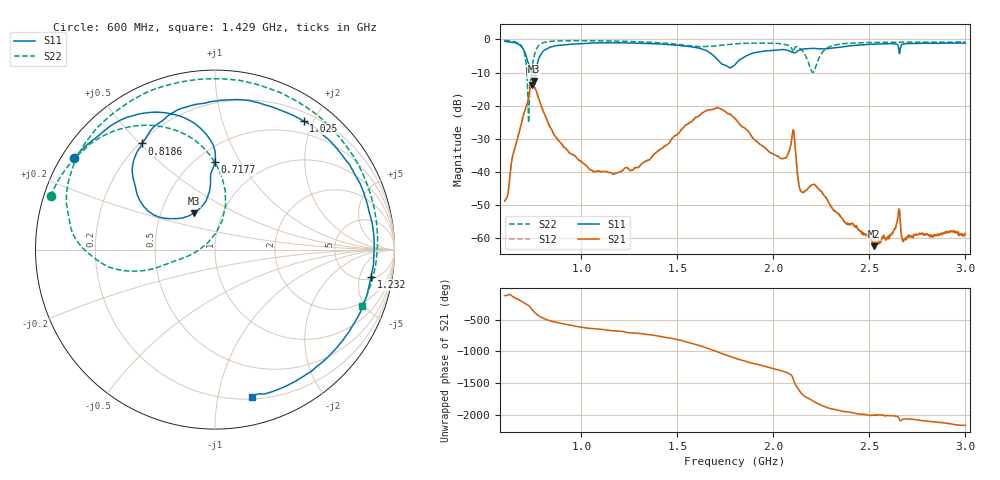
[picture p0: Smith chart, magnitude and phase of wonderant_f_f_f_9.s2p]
#  HZ  S  RI  R  50.00
! Rohde & Schwarz ZVB8 2Ports - Version 2.81 - 1145.1010k08 SN: 100113
! Date: 2016-05-17 22:38:16
! Measurements: S11 S21 S12 S22
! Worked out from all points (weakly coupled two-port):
!   1000 points, 600 MHz to 3 GHz, reference 50 ohm
!   highest |S21| = -13.63 dB at 744.1 MHz (marker M1); lowest = -62.4 dB at 2.524 GHz (marker M2)
!   lowest |S11| = -12.6 dB at 751.4 MHz (marker M3), VSWR 1.61, Z = 36.6 + j15.7 ohm
!   |S11| at or under -10 dB: 740 MHz to 762.3 MHz (22.33 MHz wide, 2.97 % of centre)
!   |S22| runs from -25.2 to -0.3 dB; largest |S21 - S12| = 0.0022
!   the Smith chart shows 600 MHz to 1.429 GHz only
!   S11 on the Smith chart (normalised r, x): 600 MHz: 0.04, +0.30; 717.7 MHz: 0.62, +0.79; 818.6 MHz: 0.21, +0.51; 1.025 GHz: 0.32, +1.86; 1.232 GHz: 5.48, -7.57; 1.429 GHz: 0.22, -1.26
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6e8  -0.784 0.5083  -0.00199 -0.00302  -0.00208 -0.00306  -0.9159 0.2966
6.864865e8  -0.222 0.7516  -0.0461 0.0241  -0.0462 0.0239  -0.4142 0.6918
7.177177e8  -0.000659 0.4876  -0.00261 0.1065  -0.00374 0.1064  0.0589 0.2456
7.441441e8  -0.0499 0.2713  0.2036 0.0432  0.2035 0.044  -0.3813 -0.1149
7.513514e8  -0.1185 0.2024  0.1941 -0.0427  0.194 -0.0425  -0.5073 -0.117
8.186186e8  -0.4051 0.5915  -0.0489 -0.0403  -0.0488 -0.0404  -0.7923 0.4588
1.001201e9  0.3984 0.7639  -0.00246 0.014  -0.00252 0.014  -0.1627 0.9394
1.025225e9  0.4941 0.7162  0.000432 0.0124  0.000313 0.0125  -0.0672 0.9501
1.231832e9  0.8694 -0.1525  0.0107 0.00454  0.0108 0.00456  0.7099 0.6049
1.4e9  0.35 -0.7796  0.0162 -0.0131  0.0163 -0.0131  0.8736 -0.1761
1.428829e9  0.2067 -0.8191  0.014 -0.0195  0.014 -0.0194  0.8204 -0.3155
1.623423e9  -0.6138 -0.3827  -0.0723 0.0198  -0.0723 0.0195  0.089 -0.7735
1.801201e9  -0.4146 -0.0419  0.0567 -0.0289  0.0569 -0.0285  -0.6452 -0.5632
1.902102e9  -0.5345 0.3309  -0.0121 -0.028  -0.012 -0.0281  -0.872 -0.1155
2.027027e9  0.0234 0.6944  -0.0143 0.00921  -0.0143 0.00917  -0.7237 0.4727
2.101502e9  0.4004 0.4869  0.038 0.0167  0.0376 0.0168  -0.3269 0.56
2.142342e9  0.5631 0.4196  -0.00462 0.00232  -0.00457 0.00226  -0.2086 0.6822
2.2e9  0.728 0.0798  0.00538 0.00341  0.00533 0.00343  -0.0934 0.3133
2.272072e9  0.6516 -0.3088  0.0012 -0.004  0.00124 -0.00399  -0.3829 0.6027
2.524324e9  -0.3135 -0.7857  -0.00073 0.000217  -0.000759 0.00027  0.6185 0.6539
2.601201e9  -0.5999 -0.6187  -0.000848 0.000486  -0.001 0.000489  0.796 0.4286
3e9  -0.6533 0.5867  0.00115 -6.45e-05  0.00114 -5.06e-05  0.5386 -0.7382
